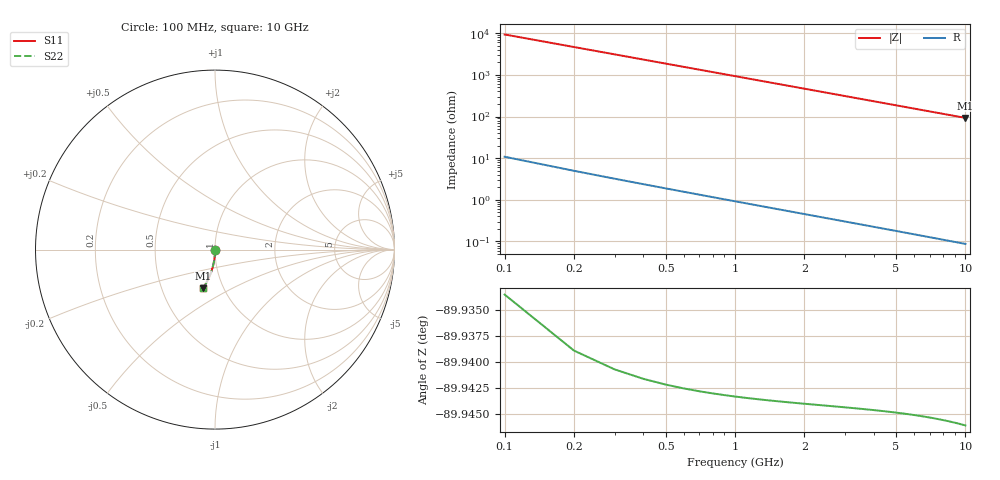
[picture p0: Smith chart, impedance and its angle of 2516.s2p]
# Hz S RI R 50.00
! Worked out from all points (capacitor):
!   100 points, 100 MHz to 10 GHz, reference 50 ohm
!   read as one part in shunt: C = 170 fF near 100 MHz
!   lowest |Z| = 92.9 ohm at 10 GHz (marker M1)
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1e8  0.00013 -0.0023  0.9998 -0.00305  0.9998 -0.00305  0.00013 -0.0023
2e8  0.000108 -0.00461  0.9998 -0.0061  0.9998 -0.0061  0.000108 -0.00461
3e8  7.05e-05 -0.00691  0.9998 -0.00915  0.9998 -0.00915  7.05e-05 -0.00691
4e8  1.93e-05 -0.00922  0.9997 -0.0122  0.9997 -0.0122  1.93e-05 -0.00922
5e8  -4.61e-05 -0.0115  0.9997 -0.0153  0.9997 -0.0153  -4.61e-05 -0.0115
6e8  -0.000126 -0.0138  0.9996 -0.0183  0.9996 -0.0183  -0.000126 -0.0138
7e8  -0.000219 -0.0161  0.9995 -0.0214  0.9995 -0.0214  -0.000219 -0.0161
8e8  -0.000327 -0.0184  0.9994 -0.0244  0.9994 -0.0244  -0.000327 -0.0184
9e8  -0.000449 -0.0207  0.9992 -0.0275  0.9992 -0.0275  -0.000449 -0.0207
1.1e9  -0.000735 -0.0253  0.9989 -0.0336  0.9989 -0.0336  -0.000735 -0.0253
1.4e9  -0.00127 -0.0322  0.9984 -0.0427  0.9984 -0.0427  -0.00127 -0.0322
1.8e9  -0.00218 -0.0414  0.9974 -0.0549  0.9974 -0.0549  -0.00218 -0.0414
2.1e9  -0.00301 -0.0483  0.9966 -0.064  0.9966 -0.064  -0.00301 -0.0483
2.5e9  -0.00431 -0.0574  0.9952 -0.0761  0.9952 -0.0761  -0.00431 -0.0574
2.9e9  -0.00583 -0.0665  0.9936 -0.0882  0.9936 -0.0882  -0.00583 -0.0665
3.4e9  -0.00805 -0.0779  0.9913 -0.1033  0.9913 -0.1033  -0.00805 -0.0779
4.2e9  -0.0123 -0.0958  0.9869 -0.1273  0.9869 -0.1273  -0.0123 -0.0958
5.1e9  -0.0181 -0.1157  0.9808 -0.154  0.9808 -0.154  -0.0181 -0.1157
5.9e9  -0.0242 -0.1331  0.9745 -0.1774  0.9745 -0.1774  -0.0242 -0.1331
6.7e9  -0.0311 -0.1501  0.9673 -0.2005  0.9673 -0.2005  -0.0311 -0.1501
8.4e9  -0.0483 -0.1847  0.9493 -0.2481  0.9493 -0.2481  -0.0483 -0.1847
1e10  -0.0675 -0.2153  0.9293 -0.291  0.9293 -0.291  -0.0675 -0.2153
